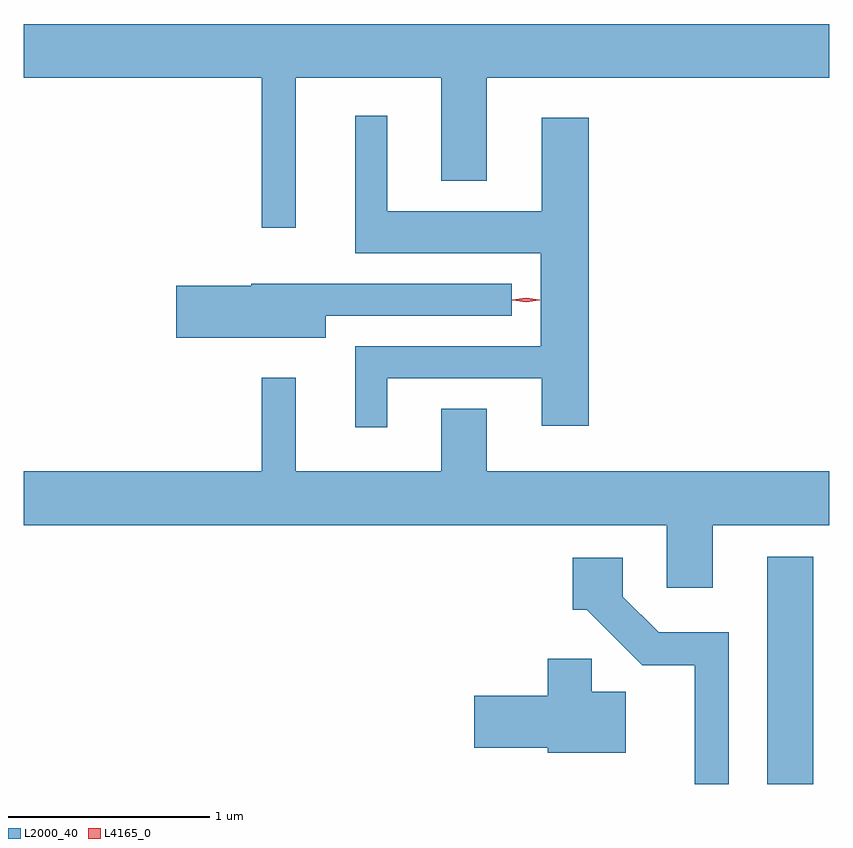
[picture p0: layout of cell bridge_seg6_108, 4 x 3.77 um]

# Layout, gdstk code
import gdstk
lib = gdstk.Library(unit=1e-6, precision=1e-09)
def R(c, l, rs):  # rectangles x0, y0, x1, y1
    for r in rs: c.add(gdstk.rectangle(r[:2], r[2:], *l))
def P(c, l, *ps):  # polygons
    for p in ps: c.add(gdstk.Polygon(p, *l))
L2000_40 = (2000, 40)
L4165_0 = (4165, 0)

bridge_seg6_108 = lib.new_cell('bridge_seg6_108')
R(bridge_seg6_108, L2000_40, [(1158.401,1613.132,1158.629,1614.259)])
P(bridge_seg6_108, L2000_40, [(1156.059,1616.636),(1156.781,1616.636),(1156.781,1616.126),(1157.009,1616.126),(1157.009,1616.636),(1158.709,1616.636),(1158.709,1616.904),(1154.709,1616.904),(1154.709,1616.636),(1155.891,1616.636),(1155.891,1615.893),(1156.059,1615.893)],
  [(1156.514,1615.146),(1157.281,1615.146),(1157.281,1614.911),(1157.514,1614.911),(1157.514,1616.439),(1157.281,1616.439),(1157.281,1615.974),(1156.514,1615.974),(1156.514,1616.448),(1156.356,1616.448),(1156.356,1615.766),(1157.276,1615.766),(1157.276,1615.304),(1156.356,1615.304),(1156.356,1614.903),(1156.514,1614.903)],
  [(1156.209,1615.456),(1157.133,1615.456),(1157.133,1615.614),(1155.84,1615.614),(1155.84,1615.604),(1155.466,1615.604),(1155.466,1615.346),(1156.209,1615.346)],
  [(1158.129,1614.416),(1158.709,1614.416),(1158.709,1614.684),(1157.009,1614.684),(1157.009,1614.994),(1156.781,1614.994),(1156.781,1614.684),(1156.059,1614.684),(1156.059,1615.148),(1155.891,1615.148),(1155.891,1614.684),(1154.709,1614.684),(1154.709,1614.416),(1157.901,1614.416),(1157.901,1614.106),(1158.129,1614.106)],
  [(1158.209,1613.884),(1157.862,1613.884),(1157.684,1614.062),(1157.684,1614.254),(1157.436,1614.254),(1157.436,1613.996),(1157.504,1613.996),(1157.779,1613.721),(1158.041,1613.721),(1158.041,1613.132),(1158.209,1613.132)],
  [(1157.699,1613.589),(1157.529,1613.589),(1157.529,1613.754),(1157.311,1613.754),(1157.311,1613.569),(1156.946,1613.569),(1156.946,1613.311),(1157.311,1613.311),(1157.311,1613.286),(1157.699,1613.286)])
P(bridge_seg6_108, L4165_0, [(1157.203,1615.525),(1157.134,1615.534),(1157.133,1615.535),(1157.134,1615.535),(1157.203,1615.545),(1157.272,1615.535),(1157.272,1615.535),(1157.272,1615.534)],
  [(1157.204,1615.523),(1157.138,1615.532),(1157.137,1615.533),(1157.138,1615.533),(1157.204,1615.543),(1157.269,1615.533),(1157.27,1615.533),(1157.269,1615.532)])

lib.write_gds('bridge_seg6_108.gds')
